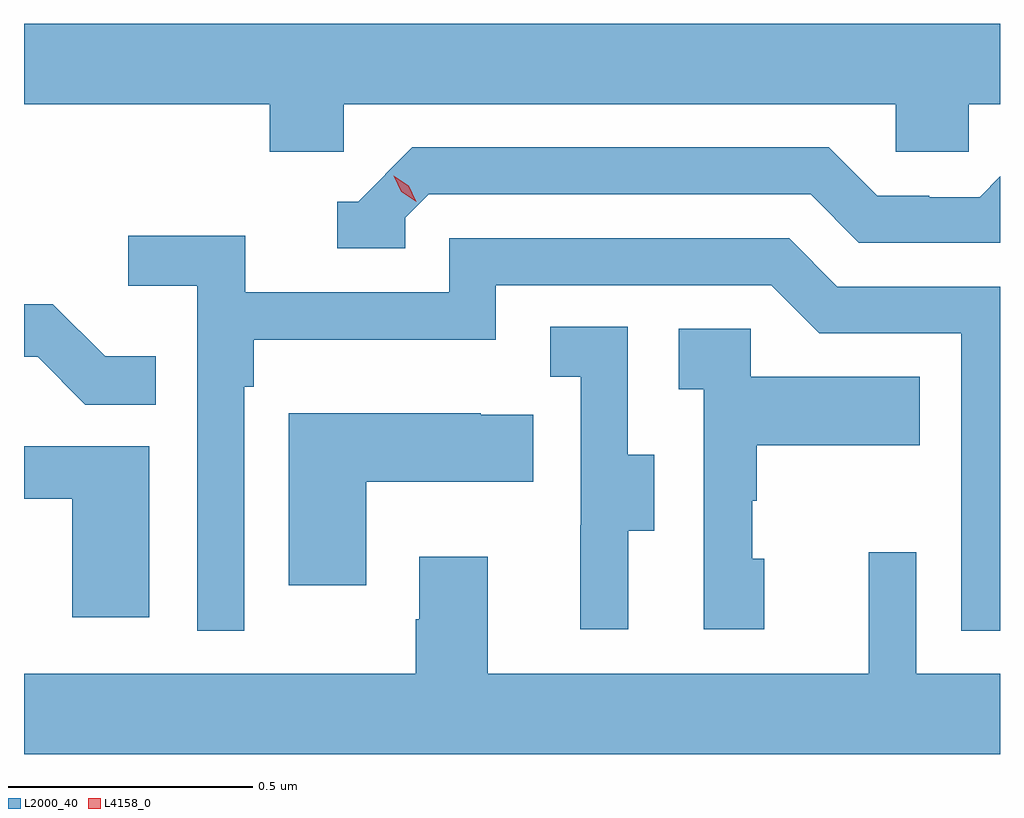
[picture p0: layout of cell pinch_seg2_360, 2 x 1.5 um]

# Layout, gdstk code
import gdstk
lib = gdstk.Library(unit=1e-6, precision=1e-09)
def P(c, l, *ps):  # polygons
    for p in ps: c.add(gdstk.Polygon(p, *l))
L2000_40 = (2000, 40)
L4158_0 = (4158, 0)

pinch_seg2_360 = lib.new_cell('pinch_seg2_360')
P(pinch_seg2_360, L2000_40, [(983.304,628.988),(984.435,628.988),(984.435,628.89),(984.585,628.89),(984.585,628.988),(984.649,628.988),(984.649,629.152),(982.649,629.152),(982.649,628.988),(983.153,628.988),(983.153,628.89),(983.304,628.89)],
  [(983.43,628.755),(983.478,628.803),(984.261,628.803),(984.36,628.704),(984.649,628.704),(984.649,628.84),(984.607,628.797),(984.504,628.797),(984.504,628.8),(984.397,628.8),(984.298,628.899),(983.445,628.899),(983.334,628.788),(983.291,628.788),(983.291,628.692),(983.43,628.692)],
  [(983.1,628.409),(983.12,628.409),(983.12,628.505),(983.616,628.505),(983.616,628.617),(984.18,628.617),(984.279,628.518),(984.57,628.518),(984.57,627.909),(984.649,627.909),(984.649,628.614),(984.316,628.614),(984.217,628.713),(983.52,628.713),(983.52,628.602),(983.102,628.602),(983.102,628.718),(982.863,628.718),(982.863,628.616),(983.004,628.616),(983.004,627.909),(983.1,627.909)],
  [(982.919,628.471),(982.815,628.471),(982.708,628.578),(982.649,628.578),(982.649,628.47),(982.677,628.47),(982.775,628.372),(982.919,628.372)],
  [(983.887,628.114),(983.941,628.114),(983.941,628.269),(983.886,628.269),(983.886,628.532),(983.727,628.532),(983.727,628.429),(983.79,628.429),(983.79,628.125),(983.789,628.125),(983.789,627.912),(983.887,627.912)],
  [(984.166,628.056),(984.141,628.056),(984.141,628.175),(984.151,628.175),(984.151,628.289),(984.485,628.289),(984.485,628.429),(984.138,628.429),(984.138,628.527),(983.991,628.527),(983.991,628.403),(984.042,628.403),(984.042,627.912),(984.166,627.912)],
  [(983.35,628.214),(983.693,628.214),(983.693,628.351),(983.585,628.351),(983.585,628.354),(983.192,628.354),(983.192,628.002),(983.35,628.002)],
  [(982.906,628.287),(982.649,628.287),(982.649,628.179),(982.748,628.179),(982.748,627.936),(982.906,627.936)],
  [(984.649,627.82),(984.477,627.82),(984.477,628.069),(984.38,628.069),(984.38,627.82),(983.599,627.82),(983.599,628.06),(983.459,628.06),(983.459,627.932),(983.452,627.932),(983.452,627.82),(982.649,627.82),(982.649,627.656),(984.649,627.656)])
P(pinch_seg2_360, L4158_0, [(983.453,628.788),(983.422,628.808),(983.407,628.841),(983.407,628.841),(983.407,628.841),(983.437,628.821),(983.453,628.788),(983.453,628.788)])

lib.write_gds('pinch_seg2_360.gds')
